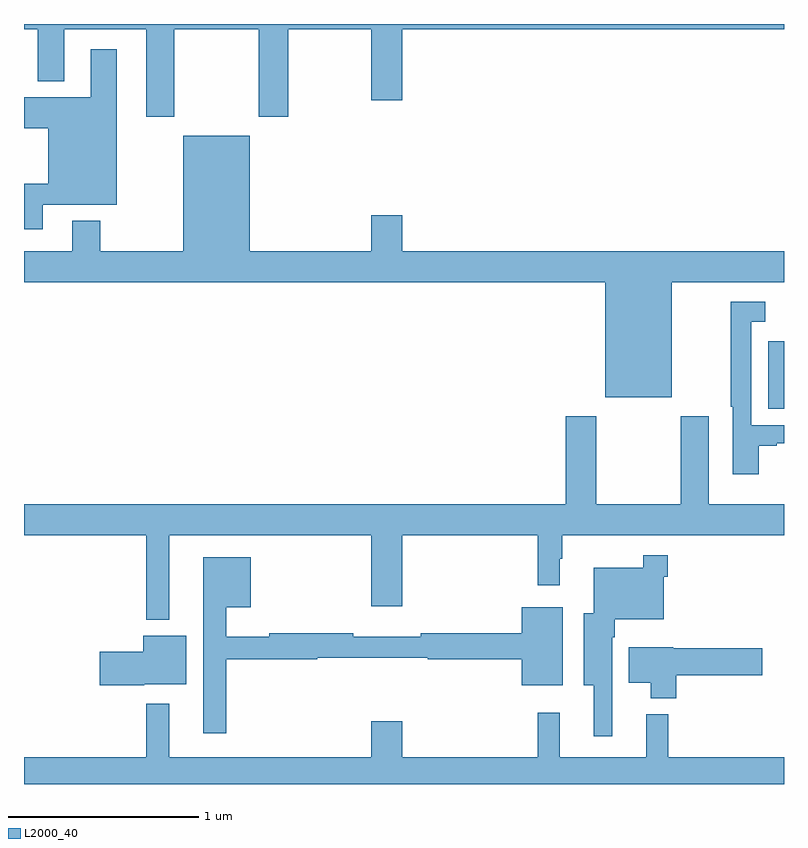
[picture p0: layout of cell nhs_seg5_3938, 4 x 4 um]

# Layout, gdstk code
import gdstk
lib = gdstk.Library(unit=1e-6, precision=1e-09)
def R(c, l, rs):  # rectangles x0, y0, x1, y1
    for r in rs: c.add(gdstk.rectangle(r[:2], r[2:], *l))
def P(c, l, *ps):  # polygons
    for p in ps: c.add(gdstk.Polygon(p, *l))
L2000_40 = (2000, 40)

nhs_seg5_3938 = lib.new_cell('nhs_seg5_3938')
R(nhs_seg5_3938, L2000_40, [(346.916,842.773,347,843.13)])
P(nhs_seg5_3938, L2000_40, [(343.791,844.772),(344.236,844.772),(344.236,844.311),(344.391,844.311),(344.391,844.772),(344.828,844.772),(344.828,844.398),(344.992,844.398),(344.992,844.772),(347,844.772),(347,844.799),(343,844.799),(343,844.772),(343.073,844.772),(343.073,844.499),(343.213,844.499),(343.213,844.772),(343.643,844.772),(343.643,844.311),(343.791,844.311)],
  [(343.099,843.848),(343.489,843.848),(343.489,844.666),(343.352,844.666),(343.352,844.414),(343,844.414),(343,844.25),(343.127,844.25),(343.127,843.958),(343,843.958),(343,843.72),(343.099,843.72)],
  [(346.408,843.44),(347,843.44),(347,843.604),(344.992,843.604),(344.992,843.793),(344.828,843.793),(344.828,843.604),(344.188,843.604),(344.188,844.21),(343.838,844.21),(343.838,843.604),(343.401,843.604),(343.401,843.763),(343.253,843.763),(343.253,843.604),(343,843.604),(343,843.44),(346.058,843.44),(346.058,842.834),(346.408,842.834)],
  [(346.867,842.58),(346.963,842.58),(346.963,842.592),(347,842.592),(347,842.688),(346.827,842.688),(346.827,843.231),(346.9,843.231),(346.9,843.337),(346.719,843.337),(346.719,842.785),(346.731,842.785),(346.731,842.43),(346.867,842.43)],
  [(343.765,842.108),(344.828,842.108),(344.828,841.734),(344.992,841.734),(344.992,842.108),(345.703,842.108),(345.703,841.845),(345.82,841.845),(345.82,841.985),(345.832,841.985),(345.832,842.108),(347,842.108),(347,842.272),(346.603,842.272),(346.603,842.734),(346.456,842.734),(346.456,842.272),(346.011,842.272),(346.011,842.734),(345.851,842.734),(345.851,842.272),(343,842.272),(343,842.108),(343.644,842.108),(343.644,841.664),(343.765,841.664)],
  [(346.095,841.571),(346.108,841.571),(346.108,841.667),(346.368,841.667),(346.368,841.889),(346.388,841.889),(346.388,842.002),(346.26,842.002),(346.26,841.936),(345.999,841.936),(345.999,841.699),(345.947,841.699),(345.947,841.319),(345.998,841.319),(345.998,841.05),(346.095,841.05)],
  [(344.065,841.456),(344.543,841.456),(344.543,841.464),(345.124,841.464),(345.124,841.456),(345.62,841.456),(345.62,841.319),(345.835,841.319),(345.835,841.729),(345.62,841.729),(345.62,841.592),(345.088,841.592),(345.088,841.573),(344.732,841.573),(344.732,841.592),(344.29,841.592),(344.29,841.573),(344.065,841.573),(344.065,841.73),(344.194,841.73),(344.194,841.993),(343.943,841.993),(343.943,841.065),(344.065,841.065)],
  [(343.632,841.325),(343.855,841.325),(343.855,841.579),(343.628,841.579),(343.628,841.496),(343.398,841.496),(343.398,841.318),(343.632,841.318)],
  [(346.433,841.372),(346.885,841.372),(346.885,841.514),(346.416,841.514),(346.416,841.519),(346.184,841.519),(346.184,841.331),(346.298,841.331),(346.298,841.25),(346.433,841.25)],
  [(347,840.94),(346.391,840.94),(346.391,841.165),(346.274,841.165),(346.274,840.94),(345.821,840.94),(345.821,841.174),(345.703,841.174),(345.703,840.94),(344.992,840.94),(344.992,841.129),(344.828,841.129),(344.828,840.94),(343.765,840.94),(343.765,841.222),(343.644,841.222),(343.644,840.94),(343,840.94),(343,840.799),(347,840.799)])

lib.write_gds('nhs_seg5_3938.gds')
